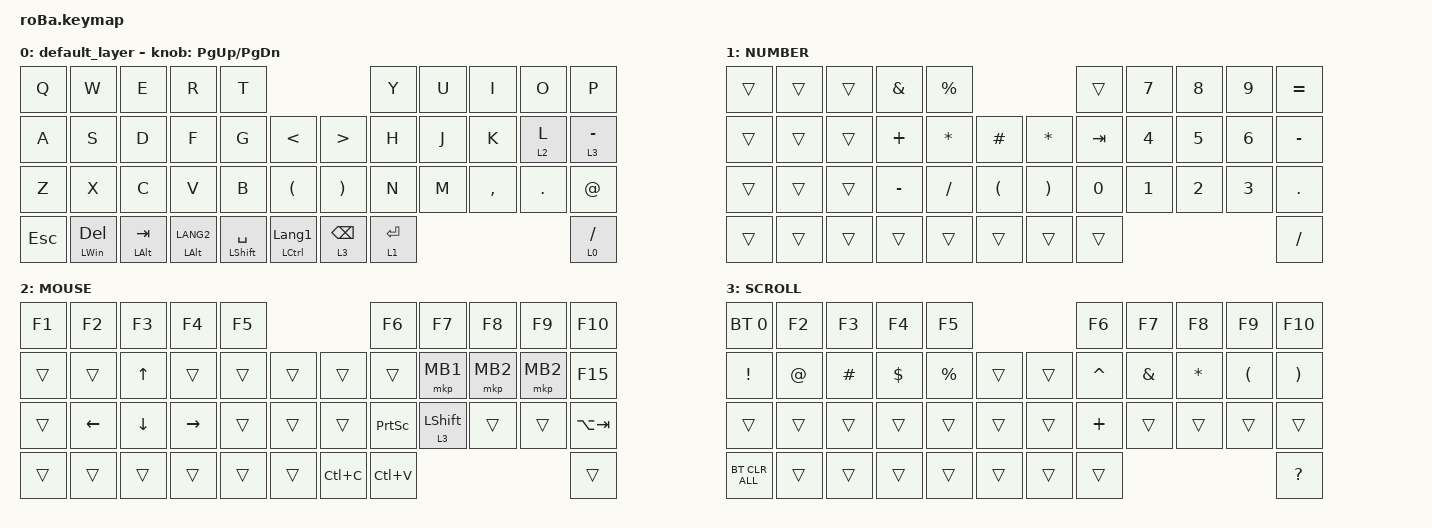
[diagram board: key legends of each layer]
#include <behaviors.dtsi>
#include <dt-bindings/zmk/bt.h>
#include <dt-bindings/zmk/keys.h>
#include <dt-bindings/zmk/pointing.h>

#define MOUSE 4
#define SCROLL 5
#define NUM 6

&mt {
    flavor = "balanced";
    quick-tap-ms = <0>;
};

/ {
    combos {
        compatible = "zmk,combos";

        tab {
            bindings = <&kp TAB>;
            key-positions = <11 12>;
        };

        shift_tab {
            bindings = <&kp LS(TAB)>;
            key-positions = <12 13>;
        };

        muhennkann {
            bindings = <&to_layer_0 INT_MUHENKAN>;
            key-positions = <11 10>;
        };

        double_quotation {
            bindings = <&kp DOUBLE_QUOTES>;
            key-positions = <20 21>;
        };

        eq {
            bindings = <&kp EQUAL>;
            key-positions = <24 25>;
        };
    };

    macros {
        to_layer_0: to_layer_0 {
            compatible = "zmk,behavior-macro-one-param";
            #binding-cells = <1>;
            bindings = <&to 0 &macro_param_1to1 &kp MACRO_PLACEHOLDER>;
            label = "TO_LAYER_0";
        };
    };

    behaviors {
        lt_to_layer_0: lt_to_layer_0 {
            compatible = "zmk,behavior-hold-tap";
            label = "LAYER_TAP_TO_0";
            bindings = <&mo>, <&to_layer_0>;

            #binding-cells = <2>;
            tapping-term-ms = <200>;
        };
    };

    keymap {
        compatible = "zmk,keymap";

        default_layer {
            bindings = <
&kp Q    &kp W                &kp E             &kp R               &kp T                                                                  &kp Y        &kp U  &kp I      &kp O    &kp P
&kp A    &kp S                &kp D             &kp F               &kp G                 &kp LESS_THAN             &kp GREATER_THAN       &kp H        &kp J  &kp K      &lt 2 L  &lt 3 MINUS
&kp Z    &kp X                &kp C             &kp V               &kp B                 &kp LEFT_PARENTHESIS      &kp RIGHT_PARENTHESIS  &kp N        &kp M  &kp COMMA  &kp DOT  &kp AT_SIGN
&kp ESC  &mt LEFT_WIN DELETE  &mt LEFT_ALT TAB  &mt LEFT_ALT LANG2  &mt LEFT_SHIFT SPACE  &mt LCTRL LANGUAGE_1      &lt 3 BACKSPACE        &lt 1 ENTER                             &lt 0 SLASH
            >;

            sensor-bindings = <&inc_dec_kp PG_UP PAGE_DOWN>;
        };

        NUMBER {
            bindings = <
&trans  &trans  &trans  &kp AMPERSAND  &kp PERCENT                                                    &trans        &kp NUMBER_7  &kp NUMBER_8  &kp NUMBER_9  &kp EQUAL
&trans  &trans  &trans  &kp PLUS       &kp ASTERISK  &kp HASH                  &kp ASTERISK           &kp TAB       &kp NUMBER_4  &kp NUMBER_5  &kp NUMBER_6  &kp MINUS
&trans  &trans  &trans  &kp MINUS      &kp SLASH     &kp LEFT_PARENTHESIS      &kp RIGHT_PARENTHESIS  &kp NUMBER_0  &kp NUMBER_1  &kp NUMBER_2  &kp NUMBER_3  &kp PERIOD
&trans  &trans  &trans  &trans         &trans        &trans                    &trans                 &trans                                                  &kp SLASH
            >;
        };

        MOUSE {
            bindings = <
&kp F1  &kp F2    &kp F3          &kp F4     &kp F5                         &kp F6           &kp F7            &kp F8    &kp F9    &kp F10
&trans  &trans    &kp UP_ARROW    &trans     &trans  &trans      &trans     &trans           &mkp MB1          &mkp MB2  &mkp MB2  &kp F15
&trans  &kp LEFT  &kp DOWN_ARROW  &kp RIGHT  &trans  &trans      &trans     &kp PRINTSCREEN  &lt 3 LEFT_SHIFT  &trans    &trans    &kp LA(TAB)
&trans  &trans    &trans          &trans     &trans  &trans      &kp LC(C)  &kp LC(V)                                              &trans
            >;
        };

        SCROLL {
            bindings = <
&bt BT_SEL 0     &kp F2       &kp F3    &kp F4      &kp F5                           &kp F6     &kp F7         &kp F8        &kp F9                &kp F10
&kp EXCLAMATION  &kp AT_SIGN  &kp HASH  &kp DOLLAR  &kp PERCENT  &trans      &trans  &kp CARET  &kp AMPERSAND  &kp ASTERISK  &kp LEFT_PARENTHESIS  &kp RIGHT_PARENTHESIS
&trans           &trans       &trans    &trans      &trans       &trans      &trans  &kp PLUS   &trans         &trans        &trans                &trans
&bt BT_CLR_ALL   &trans       &trans    &trans      &trans       &trans      &trans  &trans                                                        &kp QUESTION
            >;
        };
    };
};
